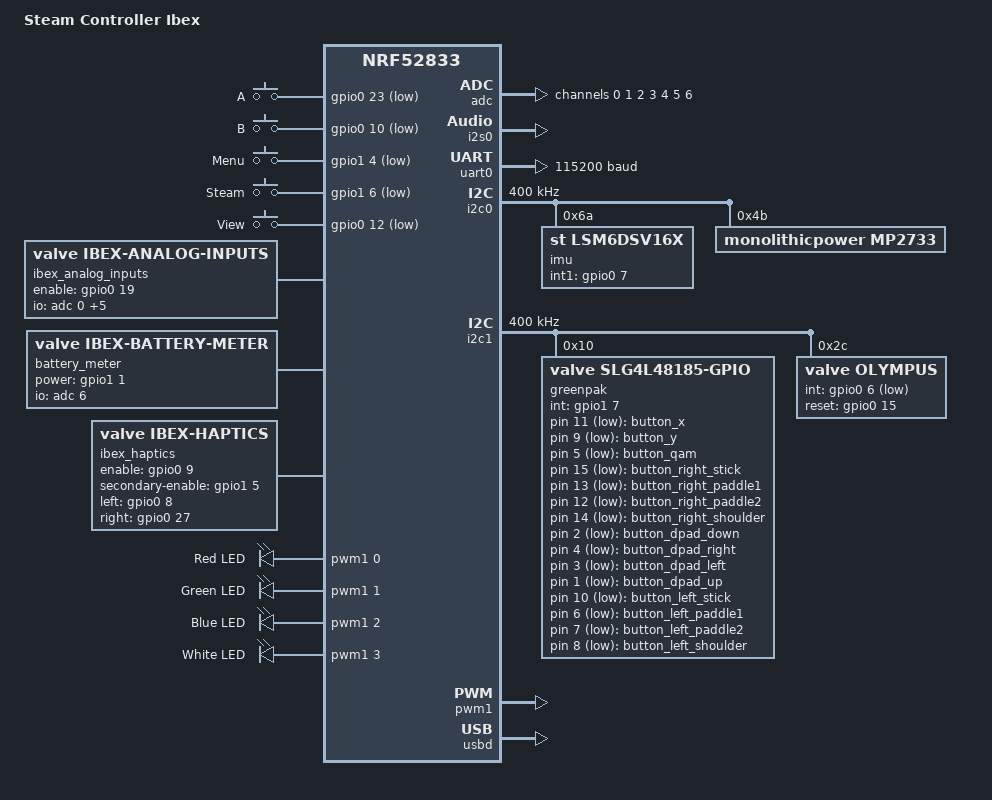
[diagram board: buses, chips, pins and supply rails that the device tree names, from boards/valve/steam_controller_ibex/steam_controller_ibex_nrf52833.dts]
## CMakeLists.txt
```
# SPDX-License-Identifier: AGPL-3.0-or-later

cmake_minimum_required(VERSION 3.20.0)

list(APPEND BOARD_ROOT ${CMAKE_CURRENT_SOURCE_DIR})

find_package(Zephyr REQUIRED HINTS $ENV{ZEPHYR_BASE})
project(steam_controller)

target_sources(app PRIVATE
	src/battery.c
	src/calibration.c
	src/charge_mode.c
	src/hardware.c
	src/haptics.c
	src/ibex_settings_registry.c
	src/imu.c
	src/lizard.c
	src/main.c
	src/power.c
	src/puck_interface.c
	src/radio_personality.c
	src/shell.c
	src/transport.c
	src/valve_feature.c
	src/valve_hid_report_map.c
	src/valve_identity.c
	src/valve_settings.c
)

target_sources_ifdef(CONFIG_HAPTICS_PWM_NRF app PRIVATE src/haptics_pwm_nrf.c)
if(CONFIG_IBEX_HAPTICS_PWM)
	set(IBEX_HAPTICS_WAVEFORMS_H ${PROJECT_BINARY_DIR}/generated/haptics_waveforms.h)

	add_custom_command(
		OUTPUT ${IBEX_HAPTICS_WAVEFORMS_H}
		COMMAND ${PYTHON_EXECUTABLE}
			${CMAKE_CURRENT_SOURCE_DIR}/../scripts/haptics-wav-to-header.py
			--output ${IBEX_HAPTICS_WAVEFORMS_H}
			--input haptics_waveform_tick=${CMAKE_CURRENT_SOURCE_DIR}/assets/haptics/tick.wav
			--input haptics_waveform_click=${CMAKE_CURRENT_SOURCE_DIR}/assets/haptics/click.wav
			--input haptics_waveform_scream=${CMAKE_CURRENT_SOURCE_DIR}/assets/haptics/scream.wav
		DEPENDS
			${CMAKE_CURRENT_SOURCE_DIR}/../scripts/haptics-wav-to-header.py
			${CMAKE_CURRENT_SOURCE_DIR}/assets/haptics/tick.wav
			${CMAKE_CURRENT_SOURCE_DIR}/assets/haptics/click.wav
			${CMAKE_CURRENT_SOURCE_DIR}/assets/haptics/scream.wav
		COMMENT "Generating Ibex haptics waveform header"
		VERBATIM
	)
	add_custom_target(ibex_haptics_waveforms DEPENDS ${IBEX_HAPTICS_WAVEFORMS_H})
	add_dependencies(app ibex_haptics_waveforms)
	target_include_directories(app PRIVATE ${PROJECT_BINARY_DIR}/generated)
	target_sources(app PRIVATE src/haptics_pwm_ibex.c)
endif()
target_sources_ifdef(CONFIG_IBEX_ANALOG_INPUTS app PRIVATE src/analog.c)
target_sources_ifdef(CONFIG_IBEX_OLYMPUS app PRIVATE src/olympus.c)
target_sources_ifdef(CONFIG_IBEX_BLE app PRIVATE src/transport_ble.c)
target_sources_ifdef(CONFIG_IBEX_USB_HID app PRIVATE src/transport_usb.c)
target_sources_ifdef(CONFIG_IBEX_ESB app PRIVATE src/transport_esb.c)
target_sources_ifdef(CONFIG_IBEX_ESB app PRIVATE src/esb_backend_direct.c)
target_sources_ifdef(CONFIG_IBEX_RGBW_LED app PRIVATE src/rgbw_led.c)
target_sources_ifdef(CONFIG_GPIO_GREENPAK app PRIVATE drivers/gpio/gpio_greenpak.c)

if(CONFIG_BOARD_STEAM_CONTROLLER_IBEX)
	string(REGEX REPLACE "^0[xX]" "" IBEX_FW_TIMESTAMP "${CONFIG_IBEX_BUILD_TIMESTAMP}")
	string(TOUPPER "${IBEX_FW_TIMESTAMP}" IBEX_FW_TIMESTAMP)
	set(IBEX_FW_NAME "IBEX_CUSTOM_${IBEX_FW_TIMESTAMP}.fw")
	set(IBEX_FW_PATH "${PROJECT_BINARY_DIR}/zephyr/${IBEX_FW_NAME}")

	add_custom_target(ibex_fw ALL
		COMMAND ${PYTHON_EXECUTABLE}
			${CMAKE_CURRENT_SOURCE_DIR}/../scripts/package-ibex-fw.py
			--input ${PROJECT_BINARY_DIR}/zephyr/${KERNEL_BIN_NAME}
			--elf ${PROJECT_BINARY_DIR}/zephyr/${KERNEL_ELF_NAME}
			--output ${IBEX_FW_PATH}
		DEPENDS zephyr_final
		BYPRODUCTS
			${IBEX_FW_PATH}
		COMMENT "Packaging Valve Ibex firmware container"
		VERBATIM
	)
endif()
```

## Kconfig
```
# SPDX-License-Identifier: AGPL-3.0-or-later

mainmenu "SC26re firmware"

menu "SC26re application"

config IBEX_BUILD_TIMESTAMP
	hex "Firmware build timestamp"
	default 0xf0550000
	help
	  Value exposed through the build_timestamp numeric attribute and used in
	  the packaged Ibex firmware filename. Makefile builds default this to
	  0xf0550000 plus the repository build number.

config IBEX_FIRMWARE_IDENTITY
	string "Custom firmware identity"
	default "SC26re"
	help
	  Human-readable identity embedded in the application and shown by the
	  status shell command.

config GPIO_GREENPAK
	bool "Valve GreenPAK input GPIO driver"
	default y if DT_HAS_VALVE_SLG4L48185_GPIO_ENABLED
	depends on GPIO && I2C && DT_HAS_VALVE_SLG4L48185_GPIO_ENABLED
	help
	  GPIO controller for the SLG4L48185 used by the Ibex board. This
	  implements only GPIO input and does not program GreenPAK config
	  NVM (which is probably done at the factory anyway).

config IBEX_BLE
	bool "Bluetooth LE HID transport"
	default y
	depends on BT
	select BT_GATT_CLIENT
	help
	  Include the Bluetooth HID transport for BLE support.

config IBEX_USB_HID
	bool "USB HID transport"
	default y if BOARD_STEAM_CONTROLLER_IBEX
	depends on BOARD_STEAM_CONTROLLER_IBEX && USBD_HID_SUPPORT && !IBEX_USB_CDC_ONLY
	help
	  Include the USB HID transport for Valve HID support over USB.

if IBEX_USB_HID

config IBEX_USB_VID
	hex "USB vendor ID"
	default 0x28de

config IBEX_USB_PID
	hex "USB product ID"
	default 0x1302

config IBEX_USB_MANUFACTURER
	string "USB manufacturer string"
	default "Valve Corporation"

config IBEX_USB_PRODUCT
	string "USB product string"
	default "SC26re Ibex CFW"

endif

config IBEX_USB_CDC_ONLY
	bool "Use USB only for the CDC-ACM shell"
	default n
	depends on BOARD_STEAM_CONTROLLER_IBEX && USB_DEVICE_STACK_NEXT
	help
	  Diagnostic mode for radio bring-up: enumerate only the CDC-ACM shell
	  over USB, with no Valve HID interface. This keeps Steam from opening
	  the USB controller while the shell can be used over the USB cable.

config IBEX_PUCK_INTERFACE
	bool "Ibex puck UART interface"
	default y if BOARD_STEAM_CONTROLLER_IBEX
	depends on BOARD_STEAM_CONTROLLER_IBEX && SERIAL
	select UART_INTERRUPT_DRIVEN
	help
	  Service the Ibex charging puck UART protocol on UARTE0.

config IBEX_ESB
	bool "Enhanced ShockBurst transport (puck support)"
	default n
	depends on SOC_NRF52833
	select ENTROPY_GENERATOR
	select DYNAMIC_INTERRUPTS if IBEX_BLE && BT_LL_SW_SPLIT
	select DYNAMIC_DIRECT_INTERRUPTS if IBEX_BLE && BT_LL_SW_SPLIT
	select BT_CTLR_DYNAMIC_INTERRUPTS if IBEX_BLE && BT_LL_SW_SPLIT
	help
	  Include the ESB transport for Valve HID support over Enhanced ShockBurst.
	  Also known as "puck support".

config IBEX_ACCELEROMETER
	bool "Include accelerometer data when accel0 is available"
	default y
	depends on SENSOR && DT_HAS_ST_LSM6DSV16X_ENABLED
	help
	  Include Ibex LSM6DSV16X FIFO and SFLP motion reports. Zephyr 4.4's
	  asynchronous sensor API is used to consume accelerometer, gyroscope,
	  game-rotation-vector, and gyroscope-bias frames.

config IBEX_ANALOG_INPUTS
	bool "Include Ibex stick and trigger ADC inputs"
	default y if BOARD_STEAM_CONTROLLER_IBEX
	depends on ADC
	help
	  Scan the six Ibex SAADC channels and include them in HID reports.

config IBEX_OLYMPUS
	bool "Include Ibex Olympus touchpads"
	default y if BOARD_STEAM_CONTROLLER_IBEX
	depends on I2C && GPIO && DT_HAS_VALVE_OLYMPUS_ENABLED
	help
	  Configure the Olympus touch controller and include touchpad data in HID reports.

config HAPTICS_PWM_NRF
	bool "nRF PWM button beep backend"
	default y if BOARD_BBC_MICROBIT_V2
	depends on PWM
	help
	  Short debug beep on button press through the micro:bit piezo.

config IBEX_HAPTICS_PWM
	bool "Ibex haptics PWM/I2S backend"
	default y
	depends on BOARD_STEAM_CONTROLLER_IBEX && DT_HAS_VALVE_IBEX_HAPTICS_ENABLED
	select FPU
	select FPU_SHARING
	select NRFX_PWM
	select I2S
	help
	  Haptics backend for the genuine Ibex touchpad actuators and the
	  secondary Gri-v3 I2S actuator path.

config IBEX_RGBW_LED
	bool "RGBW LED control"
	default y if BOARD_STEAM_CONTROLLER_IBEX
	depends on LED && PWM
	help
	  Control the four-channel RGBW LED on the controller face.

config IBEX_BATTERY
	bool "Ibex battery and charger reporting"
	default y if DT_HAS_MONOLITHICPOWER_MP2733_ENABLED
	depends on I2C && IBEX_ANALOG_INPUTS
	depends on DT_HAS_MONOLITHICPOWER_MP2733_ENABLED
	depends on DT_HAS_VALVE_IBEX_BATTERY_METER_ENABLED
	help
	  Poll the MP2733 charger and the switched battery-voltage divider, then
	  expose battery level over HID/BLE BAS.

endmenu

source "Kconfig.zephyr"
```

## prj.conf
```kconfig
# SPDX-License-Identifier: AGPL-3.0-or-later

CONFIG_GPIO=y
CONFIG_ADC=y
CONFIG_PWM=y
CONFIG_LED=y
CONFIG_SENSOR=y
CONFIG_HWINFO=y

CONFIG_LOG=y
CONFIG_LOG_DEFAULT_LEVEL=3

CONFIG_FLASH=y
CONFIG_FLASH_MAP=y
CONFIG_FILE_SYSTEM=y
CONFIG_NVS=y
CONFIG_SETTINGS=y

CONFIG_REBOOT=y
CONFIG_POWEROFF=y

CONFIG_SHELL=y
CONFIG_SHELL_BACKEND_SERIAL=y
CONFIG_SHELL_STACK_SIZE=2048
CONFIG_SHELL_CMD_BUFF_SIZE=128
CONFIG_SHELL_PROMPT_UART="steamctl> "

CONFIG_MAIN_STACK_SIZE=2048
CONFIG_MAIN_THREAD_PRIORITY=10
CONFIG_SYSTEM_WORKQUEUE_STACK_SIZE=2048
```

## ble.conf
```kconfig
# SPDX-License-Identifier: AGPL-3.0-or-later

CONFIG_IBEX_BLE=y

CONFIG_BT=y
CONFIG_BT_LL_SW_SPLIT=y
# Ticker-synchronized flash can wait past the bootloader's five-second watchdog.
CONFIG_SOC_FLASH_NRF_RADIO_SYNC_NONE=y
CONFIG_BT_PERIPHERAL=y
CONFIG_BT_GATT_CLIENT=y
CONFIG_BT_SMP=y
CONFIG_BT_SMP_APP_PAIRING_ACCEPT=y
CONFIG_BT_FILTER_ACCEPT_LIST=y
CONFIG_BT_SETTINGS=y
CONFIG_BT_DEVICE_NAME_DYNAMIC=y
CONFIG_BT_DEVICE_NAME_MAX=31
CONFIG_BT_DEVICE_NAME="Steam Ctrl (BT) XXXXXXXXXXXXX"
CONFIG_BT_DEVICE_APPEARANCE=964
CONFIG_BT_ID_MAX=3
CONFIG_BT_MAX_PAIRED=4
CONFIG_BT_BUF_ACL_RX_SIZE=71
CONFIG_BT_L2CAP_TX_MTU=67
CONFIG_BT_ATT_PREPARE_COUNT=8
CONFIG_BT_ATT_TX_COUNT=8
CONFIG_BT_DIS=y
CONFIG_BT_DIS_SETTINGS=y
CONFIG_SETTINGS_RUNTIME=y
CONFIG_BT_DIS_MODEL_NUMBER=y
CONFIG_BT_DIS_MODEL_NUMBER_STR="Steam Controller"
CONFIG_BT_DIS_MANUF_NAME=y
CONFIG_BT_DIS_MANUF_NAME_STR="Valve Corporation"
CONFIG_BT_DIS_PNP=y
CONFIG_BT_DIS_PNP_VID_SRC=2
CONFIG_BT_DIS_PNP_VID=0x28de
CONFIG_BT_DIS_PNP_PID=0x1303
CONFIG_BT_DIS_PNP_VER=0x0100
CONFIG_BT_DIS_SERIAL_NUMBER=y
CONFIG_BT_DIS_SERIAL_NUMBER_STR="XXXXXXXXXXXXX"
CONFIG_BT_BAS=y
```

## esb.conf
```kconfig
# SPDX-License-Identifier: AGPL-3.0-or-later

CONFIG_IBEX_ESB=y
```

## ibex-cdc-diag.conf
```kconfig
# SPDX-License-Identifier: AGPL-3.0-or-later

# Diagnostic build: keep only the CDC-ACM shell over USB. Do not enumerate
# Valve USB HID, so Steam cannot route inputs over USB while radio logs are
# captured on the same cable.
CONFIG_IBEX_USB_CDC_ONLY=y
CONFIG_IBEX_USB_HID=n
CONFIG_USBD_HID_SUPPORT=n
CONFIG_CDC_ACM_SERIAL_INITIALIZE_AT_BOOT=y
CONFIG_CDC_ACM_SERIAL_ENABLE_AT_BOOT=y
CONFIG_CDC_ACM_SERIAL_VID=0x28de
CONFIG_CDC_ACM_SERIAL_PID=0x1304
CONFIG_CDC_ACM_SERIAL_MANUFACTURER_STRING="Valve Corporation"
CONFIG_CDC_ACM_SERIAL_PRODUCT_STRING="SC26re Ibex CFW CDC diag"
```

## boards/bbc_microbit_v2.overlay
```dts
/* SPDX-License-Identifier: AGPL-3.0-or-later */

#include <zephyr/dt-bindings/pwm/pwm.h>

/ {
	aliases {
		/delete-property/ sw0;
		/delete-property/ sw1;

		button-a = &buttonA;
		button-b = &buttonB;
		haptic0 = &speaker_haptic;
	};

	haptics {
		compatible = "pwm-leds";

		speaker_haptic: haptic_0 {
			pwms = <&pwm1 0 PWM_HZ(2000) PWM_POLARITY_INVERTED>;
			label = "micro:bit speaker haptic";
		};
	};
};
```

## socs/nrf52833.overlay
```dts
/* SPDX-License-Identifier: AGPL-3.0-or-later */

/*
 * Keep the Valve bootloader's retained-RAM ISP mailbox out of normal Zephyr
 * allocations.
 */
&sram0 {
	reg = <0x20000000 0x0001fff0>;
};
```

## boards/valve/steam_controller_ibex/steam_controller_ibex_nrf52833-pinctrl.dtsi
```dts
/* SPDX-License-Identifier: AGPL-3.0-or-later */

#include <zephyr/dt-bindings/pinctrl/nrf-pinctrl.h>

&pinctrl {
	uart0_default: uart0_default {
		group1 {
			psels = <NRF_PSEL(UART_TX, 0, 21)>,
				<NRF_PSEL(UART_RX, 0, 24)>;
		};
	};

	uart0_sleep: uart0_sleep {
		group1 {
			psels = <NRF_PSEL(UART_TX, 0, 21)>,
				<NRF_PSEL(UART_RX, 0, 24)>;
			low-power-enable;
		};
	};

	i2c0_default: i2c0_default {
		group1 {
			psels = <NRF_PSEL(TWIM_SDA, 0, 20)>,
				<NRF_PSEL(TWIM_SCL, 0, 17)>;
		};
	};

	i2c0_sleep: i2c0_sleep {
		group1 {
			psels = <NRF_PSEL(TWIM_SDA, 0, 20)>,
				<NRF_PSEL(TWIM_SCL, 0, 17)>;
			low-power-enable;
		};
	};

	i2c1_default: i2c1_default {
		group1 {
			psels = <NRF_PSEL(TWIM_SDA, 0, 14)>,
				<NRF_PSEL(TWIM_SCL, 0, 26)>;
		};
	};

	i2c1_sleep: i2c1_sleep {
		group1 {
			psels = <NRF_PSEL(TWIM_SDA, 0, 14)>,
				<NRF_PSEL(TWIM_SCL, 0, 26)>;
			low-power-enable;
		};
	};

	pwm1_default: pwm1_default {
		group1 {
			psels = <NRF_PSEL(PWM_OUT0, 1, 9)>,
				<NRF_PSEL(PWM_OUT1, 0, 22)>,
				<NRF_PSEL(PWM_OUT2, 1, 0)>,
				<NRF_PSEL(PWM_OUT3, 1, 8)>;
		};
	};

	pwm1_sleep: pwm1_sleep {
		group1 {
			psels = <NRF_PSEL(PWM_OUT0, 1, 9)>,
				<NRF_PSEL(PWM_OUT1, 0, 22)>,
				<NRF_PSEL(PWM_OUT2, 1, 0)>,
				<NRF_PSEL(PWM_OUT3, 1, 8)>;
			low-power-enable;
		};
	};

	i2s0_default: i2s0_default {
		group1 {
			psels = <NRF_PSEL(I2S_SCK_M, 0, 1)>,
				<NRF_PSEL(I2S_LRCK_M, 0, 16)>,
				<NRF_PSEL(I2S_SDOUT, 0, 11)>;
		};
	};

	i2s0_sleep: i2s0_sleep {
		group1 {
			psels = <NRF_PSEL(I2S_SCK_M, 0, 1)>,
				<NRF_PSEL(I2S_LRCK_M, 0, 16)>,
				<NRF_PSEL(I2S_SDOUT, 0, 11)>;
			low-power-enable;
		};
	};
};
```

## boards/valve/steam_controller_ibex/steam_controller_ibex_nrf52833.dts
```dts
/* SPDX-License-Identifier: AGPL-3.0-or-later */

/dts-v1/;

#include <nordic/nrf52833_qiaa.dtsi>
#include "steam_controller_ibex_nrf52833-pinctrl.dtsi"
#include <zephyr/dt-bindings/adc/adc.h>
#include <zephyr/dt-bindings/adc/nrf-adc.h>
#include <zephyr/dt-bindings/input/input-event-codes.h>
#include <zephyr/dt-bindings/pwm/pwm.h>
#include <zephyr/dt-bindings/sensor/lsm6dsv16x.h>

/ {
	model = "Steam Controller Ibex";
	compatible = "valve,steam-controller-ibex";

	aliases {
		button-a = &button_a;
		button-b = &button_b;
		button-x = &button_x;
		button-y = &button_y;
		button-qam = &button_qam;
		button-right-stick = &button_right_stick;
		button-view = &button_menu;
		button-right-paddle1 = &button_right_paddle1;
		button-right-paddle2 = &button_right_paddle2;
		button-right-shoulder = &button_right_shoulder;
		button-dpad-down = &button_dpad_down;
		button-dpad-right = &button_dpad_right;
		button-dpad-left = &button_dpad_left;
		button-dpad-up = &button_dpad_up;
		button-menu = &button_left_view;
		button-left-stick = &button_left_stick;
		button-steam = &button_steam;
		button-left-paddle1 = &button_left_paddle1;
		button-left-paddle2 = &button_left_paddle2;
		button-left-shoulder = &button_left_shoulder;
		accel0 = &imu;
		watchdog0 = &wdt0;
	};

	chosen {
		zephyr,console = &cdc_acm_uart0;
		zephyr,shell-uart = &cdc_acm_uart0;
		zephyr,sram = &sram0;
		zephyr,flash = &flash0;
		zephyr,code-partition = &application_partition;
	};

	buttons {
		compatible = "gpio-keys";

		button_a: button_a {
			label = "A";
			gpios = <&gpio0 23 (GPIO_PULL_UP | GPIO_ACTIVE_LOW)>;
			zephyr,code = <INPUT_BTN_SOUTH>;
		};

		button_b: button_b {
			label = "B";
			gpios = <&gpio0 10 (GPIO_PULL_UP | GPIO_ACTIVE_LOW)>;
			zephyr,code = <INPUT_BTN_EAST>;
		};

		button_menu: button_menu {
			label = "Menu";
			gpios = <&gpio1 4 (GPIO_PULL_UP | GPIO_ACTIVE_LOW)>;
			zephyr,code = <INPUT_KEY_MENU>;
		};

		button_steam: button_steam {
			label = "Steam";
			gpios = <&gpio1 6 (GPIO_PULL_UP | GPIO_ACTIVE_LOW)>;
			zephyr,code = <INPUT_KEY_HOME>;
		};

		button_left_view: button_left_view {
			label = "View";
			gpios = <&gpio0 12 (GPIO_PULL_UP | GPIO_ACTIVE_LOW)>;
			zephyr,code = <INPUT_KEY_BACK>;
		};
	};

	greenpak_buttons {
		compatible = "gpio-keys";

		button_x: button_x {
			gpios = <&greenpak 11 GPIO_ACTIVE_LOW>;
			zephyr,code = <INPUT_BTN_WEST>;
		};

		button_y: button_y {
			gpios = <&greenpak 9 GPIO_ACTIVE_LOW>;
			zephyr,code = <INPUT_BTN_NORTH>;
		};

		button_qam: button_qam {
			gpios = <&greenpak 5 GPIO_ACTIVE_LOW>;
			zephyr,code = <INPUT_BTN_MODE>;
		};

		button_right_stick: button_right_stick {
			gpios = <&greenpak 15 GPIO_ACTIVE_LOW>;
			zephyr,code = <INPUT_BTN_THUMBR>;
		};

		button_right_paddle1: button_right_paddle1 {
			gpios = <&greenpak 13 GPIO_ACTIVE_LOW>;
			zephyr,code = <INPUT_BTN_5>;
		};

		button_right_paddle2: button_right_paddle2 {
			gpios = <&greenpak 12 GPIO_ACTIVE_LOW>;
			zephyr,code = <INPUT_BTN_6>;
		};

		button_right_shoulder: button_right_shoulder {
			gpios = <&greenpak 14 GPIO_ACTIVE_LOW>;
			zephyr,code = <INPUT_BTN_TR>;
		};

		button_dpad_down: button_dpad_down {
			gpios = <&greenpak 2 GPIO_ACTIVE_LOW>;
			zephyr,code = <INPUT_BTN_DPAD_DOWN>;
		};

		button_dpad_right: button_dpad_right {
			gpios = <&greenpak 4 GPIO_ACTIVE_LOW>;
			zephyr,code = <INPUT_BTN_DPAD_RIGHT>;
		};

		button_dpad_left: button_dpad_left {
			gpios = <&greenpak 3 GPIO_ACTIVE_LOW>;
			zephyr,code = <INPUT_BTN_DPAD_LEFT>;
		};

		button_dpad_up: button_dpad_up {
			gpios = <&greenpak 1 GPIO_ACTIVE_LOW>;
			zephyr,code = <INPUT_BTN_DPAD_UP>;
		};

		button_left_stick: button_left_stick {
			gpios = <&greenpak 10 GPIO_ACTIVE_LOW>;
			zephyr,code = <INPUT_BTN_THUMBL>;
		};

		button_left_paddle1: button_left_paddle1 {
			gpios = <&greenpak 6 GPIO_ACTIVE_LOW>;
			zephyr,code = <INPUT_BTN_7>;
		};

		button_left_paddle2: button_left_paddle2 {
			gpios = <&greenpak 7 GPIO_ACTIVE_LOW>;
			zephyr,code = <INPUT_BTN_8>;
		};

		button_left_shoulder: button_left_shoulder {
			gpios = <&greenpak 8 GPIO_ACTIVE_LOW>;
			zephyr,code = <INPUT_BTN_TL>;
		};
	};

	ibex_analog_inputs {
		compatible = "valve,ibex-analog-inputs";
		enable-gpios = <&gpio0 19 GPIO_ACTIVE_HIGH>;
		io-channels = <&adc 0>, <&adc 1>, <&adc 2>,
			      <&adc 3>, <&adc 4>, <&adc 5>;
		io-channel-names = "stick-left-x", "stick-left-y",
				   "stick-right-x", "stick-right-y",
				   "trigger-left", "trigger-right";
	};

	battery_meter: battery_meter {
		compatible = "valve,ibex-battery-meter";
		io-channels = <&adc 6>;
		output-ohms = <301000>;
		full-ohms = <522000>;
		power-gpios = <&gpio1 1 GPIO_ACTIVE_HIGH>;
		/* OFW 0x39730 enables the divider; 0x33c96 waits this long before sampling. */
		power-on-sample-delay-us = <5000>;
	};

	ibex_haptics: ibex_haptics {
		compatible = "valve,ibex-haptics";
		enable-gpios = <&gpio0 9 (GPIO_ACTIVE_HIGH | GPIO_PULL_DOWN)>;
		secondary-enable-gpios = <&gpio1 5 GPIO_ACTIVE_HIGH>;
		/* OFW touchpad haptics: left0 is PWM0 OUT2, right0 is PWM0 OUT0. */
		left-gpios = <&gpio0 8 GPIO_ACTIVE_HIGH>;
		right-gpios = <&gpio0 27 GPIO_ACTIVE_HIGH>;
		left-channel = <2>;
		right-channel = <0>;
		status = "okay";
	};

	hid_dev_0: hid_dev_0 {
		compatible = "zephyr,hid-device";
		in-report-size = <64>;
		in-polling-period-us = <1000>;
		out-report-size = <64>;
		out-polling-period-us = <1000>;
	};

	pwmrgbleds: pwmrgbleds {
		compatible = "pwm-leds";

		led_red: led_red {
			pwms = <&pwm1 0 PWM_HZ(20000) PWM_POLARITY_INVERTED>;
			label = "Red LED";
		};

		led_green: led_green {
			pwms = <&pwm1 1 PWM_HZ(20000) PWM_POLARITY_INVERTED>;
			label = "Green LED";
		};

		led_blue: led_blue {
			pwms = <&pwm1 2 PWM_HZ(20000) PWM_POLARITY_INVERTED>;
			label = "Blue LED";
		};

		led_white: led_white {
			pwms = <&pwm1 3 PWM_HZ(20000) PWM_POLARITY_INVERTED>;
			label = "White LED";
		};
	};
};

&adc {
	status = "okay";
	#address-cells = <1>;
	#size-cells = <0>;

	channel@0 {
		reg = <0>;
		zephyr,gain = "ADC_GAIN_1_4";
		zephyr,reference = "ADC_REF_VDD_1_4";
		zephyr,acquisition-time = <ADC_ACQ_TIME(ADC_ACQ_TIME_MICROSECONDS, 3)>;
		zephyr,input-positive = <NRF_SAADC_AIN4>;
		zephyr,vref-mv = <825>;
		zephyr,resolution = <12>;
	};

	channel@1 {
		reg = <1>;
		zephyr,gain = "ADC_GAIN_1_4";
		zephyr,reference = "ADC_REF_VDD_1_4";
		zephyr,acquisition-time = <ADC_ACQ_TIME(ADC_ACQ_TIME_MICROSECONDS, 3)>;
		zephyr,input-positive = <NRF_SAADC_AIN1>;
		zephyr,vref-mv = <825>;
		zephyr,resolution = <12>;
	};

	channel@2 {
		reg = <2>;
		zephyr,gain = "ADC_GAIN_1_4";
		zephyr,reference = "ADC_REF_VDD_1_4";
		zephyr,acquisition-time = <ADC_ACQ_TIME(ADC_ACQ_TIME_MICROSECONDS, 3)>;
		zephyr,input-positive = <NRF_SAADC_AIN7>;
		zephyr,vref-mv = <825>;
		zephyr,resolution = <12>;
	};

	channel@3 {
		reg = <3>;
		zephyr,gain = "ADC_GAIN_1_4";
		zephyr,reference = "ADC_REF_VDD_1_4";
		zephyr,acquisition-time = <ADC_ACQ_TIME(ADC_ACQ_TIME_MICROSECONDS, 3)>;
		zephyr,input-positive = <NRF_SAADC_AIN5>;
		zephyr,vref-mv = <825>;
		zephyr,resolution = <12>;
	};

	channel@4 {
		reg = <4>;
		zephyr,gain = "ADC_GAIN_1_2";
		zephyr,reference = "ADC_REF_VDD_1_4";
		zephyr,acquisition-time = <ADC_ACQ_TIME(ADC_ACQ_TIME_MICROSECONDS, 3)>;
		zephyr,input-positive = <NRF_SAADC_AIN6>;
		zephyr,vref-mv = <825>;
		zephyr,resolution = <12>;
	};

	channel@5 {
		reg = <5>;
		zephyr,gain = "ADC_GAIN_1_2";
		zephyr,reference = "ADC_REF_VDD_1_4";
		zephyr,acquisition-time = <ADC_ACQ_TIME(ADC_ACQ_TIME_MICROSECONDS, 3)>;
		zephyr,input-positive = <NRF_SAADC_AIN0>;
		zephyr,vref-mv = <825>;
		zephyr,resolution = <12>;
	};

	channel@6 {
		reg = <6>;
		zephyr,gain = "ADC_GAIN_1_6";
		zephyr,reference = "ADC_REF_INTERNAL";
		zephyr,acquisition-time = <ADC_ACQ_TIME(ADC_ACQ_TIME_MICROSECONDS, 40)>;
		zephyr,input-positive = <NRF_SAADC_AIN3>;
		zephyr,vref-mv = <600>;
		zephyr,resolution = <12>;
	};
};

&gpiote {
	status = "okay";
};

&i2s0 {
	status = "okay";
	pinctrl-0 = <&i2s0_default>;
	pinctrl-1 = <&i2s0_sleep>;
	pinctrl-names = "default", "sleep";
};

&gpio0 {
	status = "okay";
	sense-edge-mask = <0x00801400>;
};

&gpio1 {
	status = "okay";
	sense-edge-mask = <0x00000050>;
};

&uart0 {
	compatible = "nordic,nrf-uarte";
	status = "okay";
	current-speed = <115200>;
	pinctrl-0 = <&uart0_default>;
	pinctrl-1 = <&uart0_sleep>;
	pinctrl-names = "default", "sleep";
};

&i2c0 {
	compatible = "nordic,nrf-twim";
	status = "okay";
	clock-frequency = <I2C_BITRATE_FAST>;
	pinctrl-0 = <&i2c0_default>;
	pinctrl-1 = <&i2c0_sleep>;
	pinctrl-names = "default", "sleep";

	imu: lsm6dsv16x@6a {
		compatible = "st,lsm6dsv16x";
		reg = <0x6a>;
		accel-range = <LSM6DSV16X_DT_FS_2G>;
		accel-odr = <LSM6DSVXXX_DT_ODR_HA01_AT_250Hz>;
		gyro-range = <LSM6DSV16X_DT_FS_2000DPS>;
		gyro-odr = <LSM6DSVXXX_DT_ODR_HA01_AT_250Hz>;
		fifo-watermark = <3>;
		accel-fifo-batch-rate = <LSM6DSVXXX_DT_XL_BATCHED_AT_240Hz>;
		gyro-fifo-batch-rate = <LSM6DSVXXX_DT_GY_BATCHED_AT_240Hz>;
		sflp-odr = <LSM6DSVXXX_DT_SFLP_ODR_AT_240Hz>;
		sflp-fifo-enable = <LSM6DSVXXX_DT_SFLP_FIFO_GAME_ROTATION_GBIAS>;
		int1-gpios = <&gpio0 7 GPIO_ACTIVE_HIGH>;
		drdy-pin = <1>;
		status = "okay";
	};

	mp2733: charger@4b {
		compatible = "monolithicpower,mp2733";
		reg = <0x4b>;
		status = "okay";
	};
};

&i2c1 {
	compatible = "nordic,nrf-twim";
	status = "okay";
	clock-frequency = <I2C_BITRATE_FAST>;
	pinctrl-0 = <&i2c1_default>;
	pinctrl-1 = <&i2c1_sleep>;
	pinctrl-names = "default", "sleep";

	greenpak: gpio@10 {
		compatible = "valve,slg4l48185-gpio";
		reg = <0x10>;
		gpio-controller;
		#gpio-cells = <2>;
		ngpios = <16>;
		gpio-reserved-ranges = <0 1>;
		int-gpios = <&gpio1 7 GPIO_ACTIVE_HIGH>;
		input-selector = <0xf0>;
		poll-interval-ms = <20>;
		status = "okay";
	};

	olympus: touch-controller@2c {
		compatible = "valve,olympus";
		reg = <0x2c>;
		int-gpios = <&gpio0 6 GPIO_ACTIVE_LOW>;
		reset-gpios = <&gpio0 15 GPIO_ACTIVE_HIGH>;
		status = "okay";
	};
};

&flash0 {
	partitions {
		compatible = "fixed-partitions";
		#address-cells = <1>;
		#size-cells = <1>;

		/*
		 * Valve's bootloader occupies 0x00000-0x07fff and stores
		 * the application header at 0x7cfe0-0x7cfff.
		 */
		application_partition: partition@8000 {
			label = "application";
			reg = <0x00008000 0x00070000>;
		};

		storage_partition: partition@78000 {
			label = "storage";
			reg = <0x00078000 0x00004000>;
		};

		valve_app_header: partition@7c000 {
			label = "valve-app-header";
			reg = <0x0007c000 0x00001000>;
		};

		valve_storage: partition@7d000 {
			label = "valve-storage";
			reg = <0x0007d000 0x00003000>;
		};
	};
};

&pwm1 {
	status = "okay";
	pinctrl-0 = <&pwm1_default>;
	pinctrl-1 = <&pwm1_sleep>;
	pinctrl-names = "default", "sleep";
};

zephyr_udc0: &usbd {
	compatible = "nordic,nrf-usbd";
	status = "okay";

	cdc_acm_uart0: cdc_acm_uart0 {
		compatible = "zephyr,cdc-acm-uart";
	};
};
```

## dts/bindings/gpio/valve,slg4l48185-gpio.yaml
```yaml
# SPDX-License-Identifier: AGPL-3.0-or-later

description: Valve SLG4L48185 input GPIO controller

compatible: "valve,slg4l48185-gpio"

include: [i2c-device.yaml, gpio-controller.yaml]

properties:
  int-gpios:
    type: phandle-array
    description: Optional host interrupt line; either edge schedules an input refresh.

  input-selector:
    type: int
    required: true
    description: |
      Byte written before reading the two-byte GPIO port value. The exact
      GreenPAK register semantics are not documented.

  poll-interval-ms:
    type: int
    default: 20
    description: Input polling fallback interval in milliseconds.

  "#gpio-cells":
    const: 2

gpio-cells:
  - pin
  - flags
```

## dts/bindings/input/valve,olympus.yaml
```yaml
# SPDX-License-Identifier: AGPL-3.0-or-later

description: Valve Olympus dual touch controller

compatible: "valve,olympus"

include: i2c-device.yaml

properties:
  int-gpios:
    type: phandle-array
    required: true
    description: Olympus data-ready interrupt.

  reset-gpios:
    type: phandle-array
    required: true
    description: Olympus reset output.
```

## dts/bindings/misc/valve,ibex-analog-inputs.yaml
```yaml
# SPDX-License-Identifier: AGPL-3.0-or-later

description: Valve Ibex analog stick and trigger input group

compatible: "valve,ibex-analog-inputs"

include: base.yaml

properties:
  enable-gpios:
    type: phandle-array
    required: true
    description: Active-high power enable for the stick and trigger analog sensors.

  io-channels:
    type: phandle-array
    required: true
    description: Channels to scan.

  io-channel-names:
    type: string-array
    required: true
    description: Semantic names for the scanned channels.
```

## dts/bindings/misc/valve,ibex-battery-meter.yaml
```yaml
# SPDX-License-Identifier: AGPL-3.0-or-later

description: Ibex switched battery voltage divider

compatible: "valve,ibex-battery-meter"

include: voltage-divider.yaml

properties:
  power-gpios:
    type: phandle-array
    required: true
    description: Enables the battery-divider measurement path

  power-on-sample-delay-us:
    type: int
    required: true
    description: Divider settling time after power is enabled
```

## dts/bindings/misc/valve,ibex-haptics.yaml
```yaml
# SPDX-License-Identifier: AGPL-3.0-or-later

description: Valve Ibex touchpad haptic actuator outputs

compatible: "valve,ibex-haptics"

include: base.yaml

properties:
  enable-gpios:
    type: phandle-array
    required: true
    description: Active-high touchpad/PWM haptics sequencer enable.

  secondary-enable-gpios:
    type: phandle-array
    description: Active-high GRI v3/I2S haptics sequencer enable.

  left-gpios:
    type: phandle-array
    required: true
    description: GPIO pin used as the left actuator PWM output.

  right-gpios:
    type: phandle-array
    required: true
    description: GPIO pin used as the right actuator PWM output.

  left-channel:
    type: int
    required: true
    description: PWM output channel used for the left actuator.

  right-channel:
    type: int
    required: true
    description: PWM output channel used for the right actuator.
```

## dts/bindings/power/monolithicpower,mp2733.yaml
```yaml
# SPDX-License-Identifier: AGPL-3.0-or-later

description: Monolithic Power Systems MP2733 charger/fuel-gauge interface

compatible: "monolithicpower,mp2733"

include: i2c-device.yaml
```

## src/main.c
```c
/* SPDX-License-Identifier: AGPL-3.0-or-later */
#include <errno.h>
#include <string.h>

#include <zephyr/kernel.h>
#include <zephyr/logging/log.h>
#include <zephyr/settings/settings.h>

#include "battery.h"
#include "charge_mode.h"
#include "controller.h"
#include "ibex_settings_registry.h"
#include "lizard.h"
#include "power.h"
#include "puck_interface.h"
#include "valve_settings.h"
#include "watchdog.h"

#if CONFIG_IBEX_RGBW_LED
#include "rgbw_led.h"
#endif

#define BOOT_CHORD_SETTLE_MS 150
#define PERSONALITY_PERSIST_DELAY_MS 60000
#define STEAM_POWER_HOLD_MS 5000
#define INPUT_REFRESH_MS 15

LOG_MODULE_REGISTER(app);

static bool chord_pressed(uint32_t buttons, enum controller_button first,
                          enum controller_button second)
{
	uint32_t mask = BIT(first) | BIT(second);

	return (buttons & mask) == mask;
}

static enum radio_personality boot_chord_personality(void)
{
	uint32_t buttons;

	k_sleep(K_MSEC(BOOT_CHORD_SETTLE_MS));
	buttons = hardware_read_buttons();

	/* BLE wins the three-button chord so A+B also opens its pairing window. */
	if(chord_pressed(buttons, CONTROLLER_BUTTON_RIGHT_SHOULDER, CONTROLLER_BUTTON_B))
	{
		return RADIO_PERSONALITY_BLE;
	}
	if(chord_pressed(buttons, CONTROLLER_BUTTON_RIGHT_SHOULDER, CONTROLLER_BUTTON_A))
	{
		return RADIO_PERSONALITY_ESB;
	}

	return radio_personality_get();
}

static void set_boot_led(bool usb_radio_off)
{
#if CONFIG_IBEX_RGBW_LED
	if(usb_radio_off)
	{
		rgbw_led_set((struct rgbw_color){ 0, 255, 0, 0 });
	}
	else if(radio_personality_get() == RADIO_PERSONALITY_BLE)
	{
		rgbw_led_set((struct rgbw_color){ 0, 0, 255, 0 });
	}
	else
	{
		rgbw_led_set((struct rgbw_color){ 0, 0, 0, 255 });
	}
#endif
}

int main(void)
{
	struct controller_report previous = { 0 };
	int64_t steam_button_since = 0;
	int64_t last_input_sent = 0;
	enum charge_mode_result charge_result = CHARGE_MODE_SKIPPED;
	bool usb_vbus_charge_radio;
	bool first = true;
	int err;

	power_capture_boot_state();

	if(IS_ENABLED(CONFIG_SETTINGS))
	{
		err = settings_subsys_init();
		if(err)
		{
			LOG_ERR("settings initialization failed: %d", err);
			return err;
		}
	}
	radio_personality_init();
	valve_settings_load_feature_state();
	ibex_settings_registry_init();
	err = lizard_init();
	if(err)
	{
		LOG_ERR("lizard mode initialization failed: %d", err);
		return err;
	}

	err = hardware_init();
	if(err)
	{
		LOG_ERR("hardware initialization failed: %d", err);
		return err;
	}
	err = puck_interface_init();
	if(err)
	{
		LOG_WRN("puck interface initialization failed: %d", err);
	}

	if(IS_ENABLED(CONFIG_IBEX_BATTERY))
	{
		err = battery_init();
		if(err)
		{
			LOG_WRN("battery initialization failed: %d", err);
		}
	}

	if(IS_ENABLED(CONFIG_IBEX_USB_HID))
	{
		err = transport_usb_init();
		if(err)
		{
			LOG_ERR("USB initialization failed: %d", err);
			return err;
		}
	}
	charge_result = charge_mode_run_if_needed();
	usb_vbus_charge_radio = charge_result == CHARGE_MODE_POWER_ON_RADIO &&
	                        transport_usb_attached() &&
	                        !transport_usb_configured();

	if(transport_usb_attached() && !usb_vbus_charge_radio)
	{
		LOG_INF("USB attached; using radio-off USB mode without persisting personality");
	}
	else
	{
		enum radio_personality requested_personality = boot_chord_personality();

		if(requested_personality != radio_personality_get())
		{
			LOG_INF("boot chord selected %s personality",
			        requested_personality == RADIO_PERSONALITY_ESB ? "ESB" : "BLE");
			radio_personality_reboot_into(requested_personality);
		}
		radio_personality_persist_after(radio_personality_get(), PERSONALITY_PERSIST_DELAY_MS);
	}
	set_boot_led(transport_usb_attached() && !usb_vbus_charge_radio);

	if(usb_vbus_charge_radio)
	{
		err = transport_set_usb_radio_mode(TRANSPORT_USB_RADIO_VBUS_CHARGE);
	}
	else
	{
		err = transport_init();
	}
	if(err)
	{
		LOG_ERR("transport initialization failed: %d", err);
		return err;
	}

	LOG_INF("SC26re started in %s mode", radio_personality_name());

	for(;;)
	{
		struct controller_report current;

		hardware_read_report(&current);
		if((current.buttons & BIT(CONTROLLER_BUTTON_STEAM)) != 0U)
		{
			if(steam_button_since == 0)
			{
				steam_button_since = k_uptime_get();
			}
			else if(k_uptime_get() - steam_button_since >= STEAM_POWER_HOLD_MS)
			{
				LOG_INF("Steam held: shutting down");
				power_off_after_buttons_released(BIT(CONTROLLER_BUTTON_STEAM));
			}
		}
		else
		{
			steam_button_since = 0;
		}

		bool changed = first || memcmp(&current, &previous, sizeof(current)) != 0;
		bool refresh_due = k_uptime_get() - last_input_sent >= INPUT_REFRESH_MS;
		/* OFW uses each full-state ESB report as the container boundary for lizard
		 * reports produced by the preceding input sample. */
		bool esb_state_boundary = transport_esb_connected();

		if(changed || refresh_due || esb_state_boundary)
		{
			if(changed && (current.buttons & ~previous.buttons) != 0U)
			{
				hardware_haptic_pulse();
			}

			err = transport_send(&current);
			if(err && err != -ENOTCONN)
			{
				LOG_WRN("report send failed: %d", err);
			}
			else
			{
				last_input_sent = k_uptime_get();
			}
			previous = current;
			first = false;
		}
		/* OFW sends the full state before waking lizard input processing. */
		lizard_update(&current);

		hardware_wait_for_change();
		watchdog_feed();
	}
}
```

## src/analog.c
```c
/* SPDX-License-Identifier: AGPL-3.0-or-later */
#include <errno.h>
#include <limits.h>
#include <stdlib.h>

#include <zephyr/devicetree.h>
#include <zephyr/drivers/adc.h>
#include <zephyr/drivers/adc/voltage_divider.h>
#include <zephyr/drivers/gpio.h>
#include <zephyr/kernel.h>
#include <zephyr/logging/log.h>
#include <zephyr/sys/util.h>

#include "analog.h"
#include "calibration.h"
#include "ibex_settings_registry.h"

LOG_MODULE_REGISTER(analog);

#define ANALOG_NODE DT_PATH(ibex_analog_inputs)
#define ANALOG_CHANNEL_COUNT 6
#define ANALOG_SAMPLE_COUNT 4
#define ANALOG_POWER_SETTLE_US 200
#define STICK_CENTER_MV 1650
#define STICK_ENDPOINT_MARGIN_PERCENT 2
#define TRIGGER_FULL_SCALE_MV 1650
#define TRIGGER_ENDPOINT_TRIM_PERCENT 2
#define TRIGGER_RANGE_MARGIN_PERCENT 15
#define TRIGGER_CLICK_THRESHOLD_SETTING SETTING_TRIGGER_THRESHOLD_PERCENT
#define TRIGGER_CLICK_RELEASE_HYSTERESIS_PERCENT 5
#define PUCK_PILOT_PRESENT_MIN_MV 2000

#if CONFIG_IBEX_BATTERY
#define BATTERY_METER_NODE DT_NODELABEL(battery_meter)
#define BATTERY_METER_POWER_SETTLE_US DT_PROP(BATTERY_METER_NODE, power_on_sample_delay_us)
#define BATTERY_METER_MAX_SAMPLES 40
#endif

enum analog_channel
{
	ANALOG_STICK_LEFT_X,
	ANALOG_STICK_LEFT_Y,
	ANALOG_STICK_RIGHT_X,
	ANALOG_PUCK_PILOT = ANALOG_STICK_RIGHT_X,
	ANALOG_STICK_RIGHT_Y,
	ANALOG_TRIGGER_LEFT,
	ANALOG_TRIGGER_RIGHT,
};

static const struct adc_dt_spec analog_channels[] = {
	ADC_DT_SPEC_GET_BY_NAME(ANALOG_NODE, stick_left_x),
	ADC_DT_SPEC_GET_BY_NAME(ANALOG_NODE, stick_left_y),
	ADC_DT_SPEC_GET_BY_NAME(ANALOG_NODE, stick_right_x),
	ADC_DT_SPEC_GET_BY_NAME(ANALOG_NODE, stick_right_y),
	ADC_DT_SPEC_GET_BY_NAME(ANALOG_NODE, trigger_left),
	ADC_DT_SPEC_GET_BY_NAME(ANALOG_NODE, trigger_right),
};
static const struct gpio_dt_spec analog_enable = GPIO_DT_SPEC_GET(ANALOG_NODE, enable_gpios);
#if CONFIG_IBEX_BATTERY
static const struct voltage_divider_dt_spec battery_meter =
    VOLTAGE_DIVIDER_DT_SPEC_GET(BATTERY_METER_NODE);
static const struct gpio_dt_spec battery_meter_enable =
    GPIO_DT_SPEC_GET(BATTERY_METER_NODE, power_gpios);
#endif
static bool trigger_left_click_latched;
static bool trigger_right_click_latched;
static bool analog_ready;
K_MUTEX_DEFINE(analog_lock);

BUILD_ASSERT(ARRAY_SIZE(analog_channels) == ANALOG_CHANNEL_COUNT);

static int16_t scale_stick_axis(int32_t sample, uint16_t min, uint16_t max, uint16_t center_min,
                                uint16_t center_max)
{
	if(min == 0 && max == 0)
	{
		return CLAMP((sample - STICK_CENTER_MV) * 20, INT16_MIN, INT16_MAX);
	}

	if(sample < center_min)
	{
		int32_t denom = center_min - min;

		if(denom <= 0)
		{
			return 0;
		}
		denom = MAX((denom * (100 - STICK_ENDPOINT_MARGIN_PERCENT)) / 100, 1);
		int64_t val = ((int64_t)(sample - center_min) * 32768) / denom;

		return CLAMP(val, INT16_MIN, 0);
	}
	else if(sample > center_max)
	{
		int32_t denom = max - center_max;

		if(denom <= 0)
		{
			return 0;
		}
		denom = MAX((denom * (100 - STICK_ENDPOINT_MARGIN_PERCENT)) / 100, 1);
		int64_t val = ((int64_t)(sample - center_max) * 32767) / denom;

		return CLAMP(val, 0, INT16_MAX);
	}
	else
	{
		return 0;
	}
}

static int16_t trigger_to_report(int32_t sample, const struct trigger_calibration *cal)
{
	if(!calibration_trigger_valid(cal))
	{
		return CLAMP((sample * INT16_MAX) / TRIGGER_FULL_SCALE_MV, 0, INT16_MAX);
	}

	int32_t low = MIN(cal->pressed, cal->idle);
	int32_t high = MAX(cal->pressed, cal->idle);

	if(cal->inverted)
	{
		low = (low * 100 + (100 - TRIGGER_ENDPOINT_TRIM_PERCENT) - 1) /
		      (100 - TRIGGER_ENDPOINT_TRIM_PERCENT);
	}
	else
	{
		high = (high * (100 - TRIGGER_ENDPOINT_TRIM_PERCENT)) / 100;
	}

	int32_t full_range = high - low;
	if(full_range <= 0)
	{
		return 0;
	}

	int32_t margin = (full_range * TRIGGER_RANGE_MARGIN_PERCENT) / 100;
	int32_t active_low = low + margin;
	int32_t active_high = high - margin;
	int32_t active_range = active_high - active_low;

	if(active_range <= 0)
	{
		return 0;
	}

	int64_t normalized = ((int64_t)(sample - active_low) * INT16_MAX) / active_range;

	if(cal->inverted)
	{
		normalized = INT16_MAX - normalized;
	}

	return CLAMP(normalized, 0, INT16_MAX);
}

static bool trigger_click_active(int16_t value, bool *latched)
{
	int16_t threshold_percent = 90;

	(void)ibex_setting_get(TRIGGER_CLICK_THRESHOLD_SETTING, &threshold_percent);
	threshold_percent = CLAMP(threshold_percent, 0, 100);

	int16_t release_percent = MAX(threshold_percent - TRIGGER_CLICK_RELEASE_HYSTERESIS_PERCENT, 0);
	int32_t press_threshold = ((int32_t)INT16_MAX * threshold_percent) / 100;
	int32_t release_threshold = ((int32_t)INT16_MAX * release_percent) / 100;

	if(*latched)
	{
		*latched = value >= release_threshold;
	}
	else
	{
		*latched = value >= press_threshold;
	}

	return *latched;
}

int analog_init(void)
{
	int err;

	if(!adc_is_ready_dt(&analog_channels[0]))
	{
		LOG_ERR("Ibex SAADC is not ready");
		return -ENODEV;
	}
	if(!gpio_is_ready_dt(&analog_enable))
	{
		LOG_ERR("Ibex analog enable GPIO is not ready");
		return -ENODEV;
	}
#if CONFIG_IBEX_BATTERY
	if(!adc_is_ready_dt(&battery_meter.port))
	{
		LOG_ERR("Ibex battery-meter SAADC is not ready");
		return -ENODEV;
	}
	if(!gpio_is_ready_dt(&battery_meter_enable))
	{
		LOG_ERR("Ibex battery-meter power GPIO is not ready");
		return -ENODEV;
	}
#endif

	err = gpio_pin_configure_dt(&analog_enable, GPIO_OUTPUT_INACTIVE);
	if(err)
	{
		LOG_ERR("analog enable GPIO setup failed: %d", err);
		return err;
	}

	for(size_t i = 0; i < ARRAY_SIZE(analog_channels); ++i)
	{
		err = adc_channel_setup_dt(&analog_channels[i]);
		if(err)
		{
			LOG_ERR("SAADC channel %u setup failed: %d", i, err);
			return err;
		}
	}

#if CONFIG_IBEX_BATTERY
	err = adc_channel_setup_dt(&battery_meter.port);
	if(err)
	{
		LOG_ERR("battery-meter SAADC channel setup failed: %d", err);
		return err;
	}
	err = gpio_pin_configure_dt(&battery_meter_enable, GPIO_OUTPUT_INACTIVE);
	if(err)
	{
		LOG_ERR("battery-meter power GPIO setup failed: %d", err);
		return err;
	}
#endif

	if(IS_ENABLED(CONFIG_SETTINGS))
	{
		err = calibration_load_settings();
		if(err)
		{
			LOG_WRN("failed to load analog calibration settings: %d", err);
		}
	}

	if(IS_ENABLED(CONFIG_SETTINGS) && (!calibration_trigger_loaded(CALIBRATION_LEFT) ||
	                                   !calibration_trigger_loaded(CALIBRATION_RIGHT) ||
	                                   !calibration_stick_loaded(CALIBRATION_LEFT) ||
	                                   !calibration_stick_loaded(CALIBRATION_RIGHT) ||
	                                   !calibration_pressure_loaded(CALIBRATION_LEFT) ||
	                                   !calibration_pressure_loaded(CALIBRATION_RIGHT) ||
	                                   !calibration_battery_voltage_offset_loaded()))
	{
		(void)calibration_import_valve_storage();
	}

	if(!calibration_trigger_loaded(CALIBRATION_LEFT) ||
	   !calibration_trigger_loaded(CALIBRATION_RIGHT) ||
	   !calibration_stick_loaded(CALIBRATION_LEFT) ||
	   !calibration_stick_loaded(CALIBRATION_RIGHT))
	{
		LOG_WRN("Using raw analog fallback for missing calibration: trg_l=%u trg_r=%u joy_l=%u "
		        "joy_r=%u",
		        calibration_trigger_loaded(CALIBRATION_LEFT),
		        calibration_trigger_loaded(CALIBRATION_RIGHT),
		        calibration_stick_loaded(CALIBRATION_LEFT),
		        calibration_stick_loaded(CALIBRATION_RIGHT));
	}
	analog_ready = true;
	return 0;
}

static int analog_inputs_take(void)
{
	int err;

	k_mutex_lock(&analog_lock, K_FOREVER);
	err = gpio_pin_set_dt(&analog_enable, 1);
	if(err)
	{
		k_mutex_unlock(&analog_lock);
		return err;
	}
	k_usleep(ANALOG_POWER_SETTLE_US);
	return 0;
}

static int analog_inputs_put(void)
{
	int err;

	__ASSERT_NO_MSG(analog_lock.owner == k_current_get());

	err = gpio_pin_set_dt(&analog_enable, 0);
	k_mutex_unlock(&analog_lock);
	return err;
}

int analog_puck_pilot_present(bool *present)
{
	const struct adc_dt_spec *channel = &analog_channels[ANALOG_PUCK_PILOT];
	struct adc_sequence sequence = {
		.channels = BIT(channel->channel_id),
		.buffer_size = sizeof(int16_t),
		.resolution = 12,
	};
	int16_t raw;
	int32_t mv;
	int disable_err;
	int err;

	if(present == NULL)
	{
		return -EINVAL;
	}
	*present = false;

	if(!analog_ready)
	{
		return -ENODEV;
	}

	err = analog_inputs_take();
	if(err)
	{
		return err;
	}

	sequence.buffer = &raw;
	err = adc_read(channel->dev, &sequence);
	if(err)
	{
		goto out_disable;
	}

	mv = raw;
	err = adc_raw_to_millivolts_dt(channel, &mv);
	if(err)
	{
		goto out_disable;
	}

	*present = mv >= PUCK_PILOT_PRESENT_MIN_MV;
	err = 0;

out_disable:
	disable_err = analog_inputs_put();
	return err ? err : disable_err;
}

int analog_battery_voltage_samples_mv(uint16_t *samples, size_t sample_count)
{
#if CONFIG_IBEX_BATTERY
	int16_t raw[BATTERY_METER_MAX_SAMPLES];
	struct adc_sequence_options options;
	struct adc_sequence sequence;
	int disable_err;
	int err;

	if(samples == NULL || sample_count == 0U)
	{
		return -EINVAL;
	}
	if(sample_count > ARRAY_SIZE(raw))
	{
		return -E2BIG;
	}
	if(!analog_ready)
	{
		return -ENODEV;
	}

	options = (struct adc_sequence_options){
		.extra_samplings = sample_count - 1U,
	};
	sequence = (struct adc_sequence){
		.options = &options,
		.channels = BIT(battery_meter.port.channel_id),
		.buffer = raw,
		.buffer_size = sample_count * sizeof(raw[0]),
		.resolution = battery_meter.port.resolution,
	};

	err = gpio_pin_set_dt(&battery_meter_enable, 1);
	if(err)
	{
		return err;
	}
	/* The divider can settle while the regular input path continues using the SAADC. */
	k_usleep(BATTERY_METER_POWER_SETTLE_US);

	k_mutex_lock(&analog_lock, K_FOREVER);
	err = adc_read(battery_meter.port.dev, &sequence);
	k_mutex_unlock(&analog_lock);

	disable_err = gpio_pin_set_dt(&battery_meter_enable, 0);
	if(err || disable_err)
	{
		return err ? err : disable_err;
	}

	for(size_t i = 0; i < sample_count; ++i)
	{
		int32_t adc_uv;
		int64_t battery_uv;

		adc_uv = raw[i];
		err = adc_raw_to_microvolts_dt(&battery_meter.port, &adc_uv);
		if(err)
		{
			return err;
		}
		battery_uv = adc_uv;
		err = voltage_divider_scale64_dt(&battery_meter, &battery_uv);
		if(err)
		{
			return err;
		}
		samples[i] = CLAMP(battery_uv / 1000, 0, UINT16_MAX);
	}

	return 0;
#else
	ARG_UNUSED(samples);
	ARG_UNUSED(sample_count);

	return -ENODEV;
#endif
}

int analog_read_report(struct controller_report *report)
{
	int16_t samples[ANALOG_CHANNEL_COUNT * ANALOG_SAMPLE_COUNT];
	int32_t averaged[ANALOG_CHANNEL_COUNT] = { 0 };
	struct adc_sequence_options options = {
		.extra_samplings = ANALOG_SAMPLE_COUNT - 1,
	};
	struct adc_sequence sequence = {
		.options = &options,
		.channels = BIT_MASK(ANALOG_CHANNEL_COUNT),
		.buffer = samples,
		.buffer_size = sizeof(samples),
		.resolution = 12,
	};
	int disable_err;
	int err;

	if(!analog_ready)
	{
		return -ENODEV;
	}

	err = analog_inputs_take();
	if(err)
	{
		return err;
	}

	err = adc_read(analog_channels[0].dev, &sequence);
	disable_err = analog_inputs_put();
	if(err || disable_err)
	{
		return err ? err : disable_err;
	}

	for(size_t sample = 0; sample < ANALOG_SAMPLE_COUNT; ++sample)
	{
		for(size_t channel = 0; channel < ANALOG_CHANNEL_COUNT; ++channel)
		{
			averaged[channel] += samples[sample * ANALOG_CHANNEL_COUNT + channel];
		}
	}
	for(size_t channel = 0; channel < ANALOG_CHANNEL_COUNT; ++channel)
	{
		averaged[channel] /= ANALOG_SAMPLE_COUNT;
		err = adc_raw_to_millivolts_dt(&analog_channels[channel], &averaged[channel]);
		if(err)
		{
			LOG_WRN("SAADC channel %u raw-to-mV conversion failed: %d", channel, err);
			return err;
		}
	}

	struct analog_calibration_snapshot calibration;

	calibration_analog_snapshot(&calibration);

	report->stick_left_x = scale_stick_axis(
	    averaged[ANALOG_STICK_LEFT_X], calibration.stick_left.x_min, calibration.stick_left.x_max,
	    calibration.stick_left.x_center_min, calibration.stick_left.x_center_max);
	report->stick_left_y = scale_stick_axis(
	    averaged[ANALOG_STICK_LEFT_Y], calibration.stick_left.y_min, calibration.stick_left.y_max,
	    calibration.stick_left.y_center_min, calibration.stick_left.y_center_max);
	report->stick_right_x =
	    scale_stick_axis(averaged[ANALOG_STICK_RIGHT_X], calibration.stick_right.x_min,
	                     calibration.stick_right.x_max, calibration.stick_right.x_center_min,
	                     calibration.stick_right.x_center_max);
	report->stick_right_y =
	    scale_stick_axis(averaged[ANALOG_STICK_RIGHT_Y], calibration.stick_right.y_min,
	                     calibration.stick_right.y_max, calibration.stick_right.y_center_min,
	                     calibration.stick_right.y_center_max);
	report->trigger_left =
	    trigger_to_report(averaged[ANALOG_TRIGGER_LEFT], &calibration.trigger_left);
	report->trigger_right =
	    trigger_to_report(averaged[ANALOG_TRIGGER_RIGHT], &calibration.trigger_right);
	if(trigger_click_active(report->trigger_left, &trigger_left_click_latched))
	{
		report->buttons |= BIT(CONTROLLER_BUTTON_LEFT_TRIGGER_CLICK);
	}
	if(trigger_click_active(report->trigger_right, &trigger_right_click_latched))
	{
		report->buttons |= BIT(CONTROLLER_BUTTON_RIGHT_TRIGGER_CLICK);
	}

	return 0;
}
```

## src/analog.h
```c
/* SPDX-License-Identifier: AGPL-3.0-or-later */
#pragma once

#include <stdbool.h>
#include <stdint.h>

#include "controller.h"

int analog_init(void);
int analog_puck_pilot_present(bool *present);
int analog_battery_voltage_samples_mv(uint16_t *samples, size_t sample_count);
int analog_read_report(struct controller_report *report);
```

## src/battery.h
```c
/* SPDX-License-Identifier: AGPL-3.0-or-later */
#pragma once

#include <stdbool.h>

#include "controller.h"

int battery_init(void);
int battery_prepare_poweroff(void);
int battery_get_status(struct controller_battery_report *report);
const char *battery_charge_state_name(uint8_t charge_state);
const char *battery_fuel_gauge_state_name(uint8_t state);
```

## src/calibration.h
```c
/* SPDX-License-Identifier: AGPL-3.0-or-later */
#pragma once

#include <stdbool.h>
#include <stddef.h>
#include <stdint.h>

enum calibration_side
{
	CALIBRATION_LEFT,
	CALIBRATION_RIGHT,
};

struct trigger_calibration
{
	uint16_t type;
	uint16_t pressed;
	uint16_t idle;
	uint8_t inverted;
} __packed;

struct stick_calibration
{
	uint16_t type;
	uint16_t x_min;
	uint16_t x_max;
	uint16_t x_center_min;
	uint16_t x_center_max;
	uint16_t y_min;
	uint16_t y_max;
	uint16_t y_center_min;
	uint16_t y_center_max;
} __packed;

struct pressure_calibration
{
	uint16_t mode;
	int16_t min;
	int16_t max;
	uint16_t pressure_scale;
} __packed;

struct analog_calibration_snapshot
{
	struct trigger_calibration trigger_left;
	struct trigger_calibration trigger_right;
	struct stick_calibration stick_left;
	struct stick_calibration stick_right;
};

bool calibration_trigger_valid(const struct trigger_calibration *cal);
bool calibration_stick_valid(const struct stick_calibration *cal);
bool calibration_pressure_valid(const struct pressure_calibration *cal);
bool calibration_trigger_loaded(enum calibration_side side);
bool calibration_stick_loaded(enum calibration_side side);
bool calibration_pressure_loaded(enum calibration_side side);
void calibration_analog_snapshot(struct analog_calibration_snapshot *snapshot);
bool calibration_pressure_snapshot(enum calibration_side side,
                                   struct pressure_calibration *snapshot);
bool calibration_battery_voltage_offset_loaded(void);
int16_t calibration_battery_voltage_offset_mv(void);
int calibration_load_settings(void);
int calibration_import_imu_from_valve_storage(void);
int calibration_import_valve_storage(void);
bool calibration_read_trigger(enum calibration_side side, uint8_t *buf, size_t capacity,
                              size_t *len);
int calibration_stage_trigger(enum calibration_side side, const uint8_t *value, size_t len);
int calibration_commit_trigger(enum calibration_side side);
bool calibration_read_pressure(enum calibration_side side, uint8_t *buf, size_t capacity,
                               size_t *len);
int calibration_stage_pressure(enum calibration_side side, const uint8_t *value, size_t len);
int calibration_commit_pressure(enum calibration_side side);
```

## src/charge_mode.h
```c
/* SPDX-License-Identifier: AGPL-3.0-or-later */

#pragma once

enum charge_mode_result
{
	CHARGE_MODE_SKIPPED,
	CHARGE_MODE_USB_CONFIGURED,
	CHARGE_MODE_POWER_ON_RADIO,
};

enum charge_mode_result charge_mode_run_if_needed(void);
```
